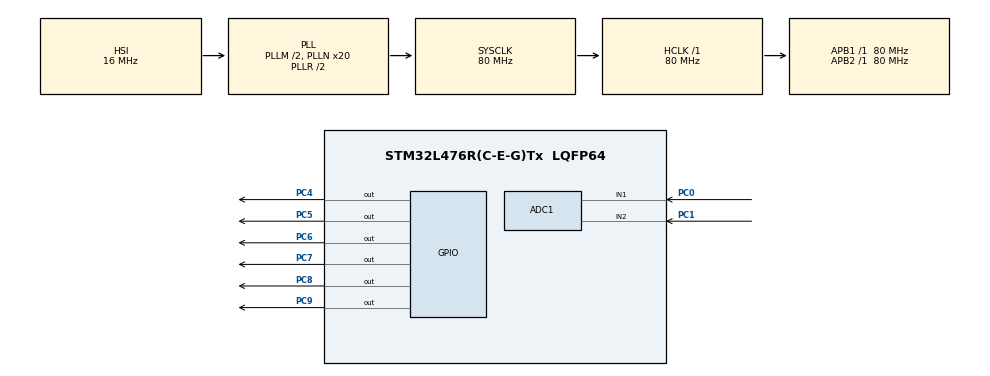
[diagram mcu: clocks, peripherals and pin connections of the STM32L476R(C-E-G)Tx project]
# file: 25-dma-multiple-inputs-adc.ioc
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ADC1.Channel-0\#ChannelRegularConversion=ADC_CHANNEL_1
ADC1.Channel-1\#ChannelRegularConversion=ADC_CHANNEL_2
ADC1.ContinuousConvMode=ENABLE
ADC1.DMAContinuousRequests=ENABLE
ADC1.EOCSelection=ADC_EOC_SEQ_CONV
ADC1.NbrOfConversion=2
ADC1.NbrOfConversionFlag=1
ADC1.OffsetNumber-0\#ChannelRegularConversion=ADC_OFFSET_NONE
ADC1.OffsetNumber-1\#ChannelRegularConversion=ADC_OFFSET_NONE
ADC1.Overrun=ADC_OVR_DATA_OVERWRITTEN
ADC1.Rank-0\#ChannelRegularConversion=1
ADC1.Rank-1\#ChannelRegularConversion=2
ADC1.SamplingTime-0\#ChannelRegularConversion=ADC_SAMPLETIME_2CYCLES_5
ADC1.SamplingTime-1\#ChannelRegularConversion=ADC_SAMPLETIME_2CYCLES_5
ADC1.master=1
Dma.ADC1.0.Direction=DMA_PERIPH_TO_MEMORY
Dma.ADC1.0.Instance=DMA1_Channel1
Dma.ADC1.0.MemDataAlignment=DMA_MDATAALIGN_HALFWORD
Dma.ADC1.0.MemInc=DMA_MINC_ENABLE
Dma.ADC1.0.Mode=DMA_NORMAL
Dma.ADC1.0.PeriphDataAlignment=DMA_PDATAALIGN_HALFWORD
Dma.ADC1.0.PeriphInc=DMA_PINC_DISABLE
Dma.ADC1.0.Priority=DMA_PRIORITY_LOW
Dma.Request0=ADC1
Mcu.Family=STM32L4
Mcu.Name=STM32L476R(C-E-G)Tx
Mcu.Package=LQFP64
NVIC.DMA1_Channel1_IRQn=true\:0\:0\:false\:false\:true\:false\:true\:true
NVIC.PriorityGroup=NVIC_PRIORITYGROUP_4
PC0.Signal=ADCx_IN1
PC1.Signal=ADCx_IN2
PC4.Signal=GPIO_Output
PC5.Signal=GPIO_Output
PC6.Signal=GPIO_Output
PC7.Signal=GPIO_Output
PC8.Signal=GPIO_Output
PC9.Signal=GPIO_Output
ProjectManager.HeapSize=0x200
ProjectManager.StackSize=0x400
ProjectManager.TargetToolchain=STM32CubeIDE
RCC.ADCFreq_Value=32000000
RCC.AHBFreq_Value=80000000
RCC.APB1Freq_Value=80000000
RCC.APB1TimFreq_Value=80000000
RCC.APB2Freq_Value=80000000
RCC.APB2TimFreq_Value=80000000
RCC.CortexFreq_Value=80000000
RCC.HCLKFreq_Value=80000000
RCC.HSE_VALUE=8000000
RCC.HSI_VALUE=16000000
RCC.LSE_VALUE=32768
RCC.MSI_VALUE=4000000
RCC.PLLM=2
RCC.PLLN=20
RCC.PLLSourceVirtual=RCC_PLLSOURCE_HSI
RCC.PREFETCH_ENABLE=1
RCC.SYSCLKFreq_VALUE=80000000
RCC.SYSCLKSource=RCC_SYSCLKSOURCE_PLLCLK
RCC.USBFreq_Value=32000000
RCC.VCOOutputFreq_Value=160000000
SH.ADCx_IN1.0=ADC1_IN1,IN1-Single-Ended
SH.ADCx_IN2.0=ADC1_IN2,IN2-Single-Ended
board=NUCLEO-L476RG

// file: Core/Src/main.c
/* USER CODE BEGIN Header */
/**
  ******************************************************************************
  * @file           : main.c
  * @brief          : Main program body
  ******************************************************************************
  * @attention
  *
  * Copyright (c) 2025 STMicroelectronics.
  * All rights reserved.
  *
  * This software is licensed under terms that can be found in the LICENSE file
  * in the root directory of this software component.
  * If no LICENSE file comes with this software, it is provided AS-IS.
  *
  ******************************************************************************
  */
/* USER CODE END Header */
#include "main.h"

/* USER CODE BEGIN Includes */
#include "lcd.h"
#include "stdio.h"
/* USER CODE END Includes */

ADC_HandleTypeDef hadc1;
DMA_HandleTypeDef hdma_adc1;

void SystemClock_Config(void);
static void MX_GPIO_Init(void);
static void MX_DMA_Init(void);
static void MX_ADC1_Init(void);

/* USER CODE BEGIN 0 */
uint16_t ADCBuffer[2];
float millivolts;
char Buffer1[10];
char Buffer2[10];
uint8_t DataFlag = 0;

void HAL_ADC_ConvCpltCallback(ADC_HandleTypeDef* hadc1) {
	HAL_ADC_Stop_DMA(hadc1);    //stop DMA
	//ADC channel 1
	millivolts =((float)ADCBuffer[0]) * 3300.0 / 4095.0;    //convert 12-bit value
	sprintf(Buffer1, "%7.2f", millivolts);    //convert to value type
	//ADC channel 2
	millivolts =((float)ADCBuffer[1]) * 3300.0 / 4095.0;    //convert 12-bit value
	sprintf(Buffer2, "%7.2f", millivolts);    //convert to value type
	DataFlag = 1;    //flag
}
/* USER CODE END 0 */

int main(void)
{

  /* MCU Configuration--------------------------------------------------------*/

  /* Reset of all peripherals, Initializes the Flash interface and the Systick. */
  HAL_Init();

  /* Configure the system clock */
  SystemClock_Config();

  /* Initialize all configured peripherals */
  MX_GPIO_Init();
  MX_DMA_Init();
  MX_ADC1_Init();
  /* USER CODE BEGIN 2 */
  LCD_initial();    //LCD initialize
  HAL_ADC_Start_DMA(&hadc1, (uint32_t*)ADCBuffer, 2);    //start DMA
  /* USER CODE END 2 */

  /* Infinite loop */
  /* USER CODE BEGIN WHILE */
  while (1)
  {
    if(DataFlag == 1) {
      DataFlag = 0;    //data flag
      LCD_GoTo_Position(0, 0);    //move to LCD position row 1
      LCD_Puts(Buffer1);    //display values on LCD
      LCD_GoTo_Position(1, 0);    //move to LCD position row 2
      LCD_Puts(Buffer2);    //display values on LCD
      HAL_Delay(500);    //delay
      HAL_ADC_Start_DMA(&hadc1, (uint32_t*)ADCBuffer, 2);    //restart DMA
    }
    HAL_Delay(1);    //delay
    /* USER CODE END WHILE */

  }
}

void SystemClock_Config(void)
{
  RCC_OscInitTypeDef RCC_OscInitStruct = {0};
  RCC_ClkInitTypeDef RCC_ClkInitStruct = {0};

  /** Configure the main internal regulator output voltage
  */
  if (HAL_PWREx_ControlVoltageScaling(PWR_REGULATOR_VOLTAGE_SCALE1) != HAL_OK)
  {
    Error_Handler();
  }

  /** Initializes the RCC Oscillators according to the specified parameters
  * in the RCC_OscInitTypeDef structure.
  */
  RCC_OscInitStruct.OscillatorType = RCC_OSCILLATORTYPE_HSI;
  RCC_OscInitStruct.HSIState = RCC_HSI_ON;
  RCC_OscInitStruct.HSICalibrationValue = RCC_HSICALIBRATION_DEFAULT;
  RCC_OscInitStruct.PLL.PLLState = RCC_PLL_ON;
  RCC_OscInitStruct.PLL.PLLSource = RCC_PLLSOURCE_HSI;
  RCC_OscInitStruct.PLL.PLLM = 2;
  RCC_OscInitStruct.PLL.PLLN = 20;
  RCC_OscInitStruct.PLL.PLLP = RCC_PLLP_DIV7;
  RCC_OscInitStruct.PLL.PLLQ = RCC_PLLQ_DIV2;
  RCC_OscInitStruct.PLL.PLLR = RCC_PLLR_DIV2;
  if (HAL_RCC_OscConfig(&RCC_OscInitStruct) != HAL_OK)
  {
    Error_Handler();
  }

  /** Initializes the CPU, AHB and APB buses clocks
  */
  RCC_ClkInitStruct.ClockType = RCC_CLOCKTYPE_HCLK|RCC_CLOCKTYPE_SYSCLK
                              |RCC_CLOCKTYPE_PCLK1|RCC_CLOCKTYPE_PCLK2;
  RCC_ClkInitStruct.SYSCLKSource = RCC_SYSCLKSOURCE_PLLCLK;
  RCC_ClkInitStruct.AHBCLKDivider = RCC_SYSCLK_DIV1;
  RCC_ClkInitStruct.APB1CLKDivider = RCC_HCLK_DIV1;
  RCC_ClkInitStruct.APB2CLKDivider = RCC_HCLK_DIV1;

  if (HAL_RCC_ClockConfig(&RCC_ClkInitStruct, FLASH_LATENCY_4) != HAL_OK)
  {
    Error_Handler();
  }
}

static void MX_ADC1_Init(void)
{

  ADC_MultiModeTypeDef multimode = {0};
  ADC_ChannelConfTypeDef sConfig = {0};

  /** Common config
  */
  hadc1.Instance = ADC1;
  hadc1.Init.ClockPrescaler = ADC_CLOCK_ASYNC_DIV1;
  hadc1.Init.Resolution = ADC_RESOLUTION_12B;
  hadc1.Init.DataAlign = ADC_DATAALIGN_RIGHT;
  hadc1.Init.ScanConvMode = ADC_SCAN_ENABLE;
  hadc1.Init.EOCSelection = ADC_EOC_SEQ_CONV;
  hadc1.Init.LowPowerAutoWait = DISABLE;
  hadc1.Init.ContinuousConvMode = ENABLE;
  hadc1.Init.NbrOfConversion = 2;
  hadc1.Init.DiscontinuousConvMode = DISABLE;
  hadc1.Init.ExternalTrigConv = ADC_SOFTWARE_START;
  hadc1.Init.ExternalTrigConvEdge = ADC_EXTERNALTRIGCONVEDGE_NONE;
  hadc1.Init.DMAContinuousRequests = ENABLE;
  hadc1.Init.Overrun = ADC_OVR_DATA_OVERWRITTEN;
  hadc1.Init.OversamplingMode = DISABLE;
  if (HAL_ADC_Init(&hadc1) != HAL_OK)
  {
    Error_Handler();
  }

  /** Configure the ADC multi-mode
  */
  multimode.Mode = ADC_MODE_INDEPENDENT;
  if (HAL_ADCEx_MultiModeConfigChannel(&hadc1, &multimode) != HAL_OK)
  {
    Error_Handler();
  }

  /** Configure Regular Channel
  */
  sConfig.Channel = ADC_CHANNEL_1;
  sConfig.Rank = ADC_REGULAR_RANK_1;
  sConfig.SamplingTime = ADC_SAMPLETIME_2CYCLES_5;
  sConfig.SingleDiff = ADC_SINGLE_ENDED;
  sConfig.OffsetNumber = ADC_OFFSET_NONE;
  sConfig.Offset = 0;
  if (HAL_ADC_ConfigChannel(&hadc1, &sConfig) != HAL_OK)
  {
    Error_Handler();
  }

  /** Configure Regular Channel
  */
  sConfig.Channel = ADC_CHANNEL_2;
  sConfig.Rank = ADC_REGULAR_RANK_2;
  if (HAL_ADC_ConfigChannel(&hadc1, &sConfig) != HAL_OK)
  {
    Error_Handler();
  }

}

static void MX_DMA_Init(void)
{

  /* DMA controller clock enable */
  __HAL_RCC_DMA1_CLK_ENABLE();

  /* DMA interrupt init */
  /* DMA1_Channel1_IRQn interrupt configuration */
  HAL_NVIC_SetPriority(DMA1_Channel1_IRQn, 0, 0);
  HAL_NVIC_EnableIRQ(DMA1_Channel1_IRQn);

}

static void MX_GPIO_Init(void)
{
  GPIO_InitTypeDef GPIO_InitStruct = {0};

  /* GPIO Ports Clock Enable */
  __HAL_RCC_GPIOC_CLK_ENABLE();

  /*Configure GPIO pin Output Level */
  HAL_GPIO_WritePin(GPIOC, GPIO_PIN_4|GPIO_PIN_5|GPIO_PIN_6|GPIO_PIN_7
                          |GPIO_PIN_8|GPIO_PIN_9, GPIO_PIN_RESET);

  /*Configure GPIO pins : PC4 PC5 PC6 PC7
                           PC8 PC9 */
  GPIO_InitStruct.Pin = GPIO_PIN_4|GPIO_PIN_5|GPIO_PIN_6|GPIO_PIN_7
                          |GPIO_PIN_8|GPIO_PIN_9;
  GPIO_InitStruct.Mode = GPIO_MODE_OUTPUT_PP;
  GPIO_InitStruct.Pull = GPIO_NOPULL;
  GPIO_InitStruct.Speed = GPIO_SPEED_FREQ_LOW;
  HAL_GPIO_Init(GPIOC, &GPIO_InitStruct);

}

void Error_Handler(void)
{
  __disable_irq();
  while (1)
  {
  }
}
